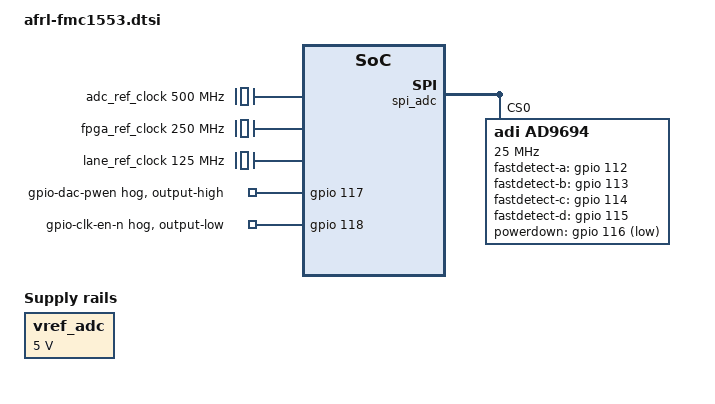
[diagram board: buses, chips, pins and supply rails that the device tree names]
#include <dt-bindings/gpio/gpio.h>

/ {
	clocks {
		adc_ref_clock: clock@0 {
			#clock-cells = <0>;
			compatible = "fixed-clock";
			clock-frequency = <500000000>;
			clock-output-names = "adc_ref_clock";
		};
    
    fpga_ref_clock: clock@1 {
      #clock-cells = <0>;
			compatible = "fixed-clock";
			clock-frequency = <250000000>;
			clock-output-names = "fpga_ref_clock";
		};
    
    lane_ref_clock: clock@2 {
      #clock-cells = <0>;
			compatible = "fixed-clock";
			clock-frequency = <125000000>;
			clock-output-names = "lane_ref_clock";
		};
    
    dac_sample_clock: clock@3 {
      #clock-cells = <0>;
      compatible = "fixed-clock";
      clock-frequency = <500000000>;
      clock-output-names = "dac_sample_clock";
    };
	};

	vref_adc: regulator-vref-adc {
		compatible = "regulator-fixed";
		regulator-name = "vref-adc";
		regulator-min-microvolt = <5000000>;
		regulator-max-microvolt = <5000000>;
		regulator-always-on;
	};
};


&spi_adc {
	ad9694: ad9694@1 {
		#address-cells = <1>;
		#size-cells = <0>;
		#clock-cells = <1>;
		compatible = "adi,ad9694";

		/* SPI Setup */
		reg = <0>;
		spi-max-frequency = <25000000>;

		/* Clocks */
		clocks = <&axi_ad9694_rx_jesd>, <&adc_ref_clock>;
		clock-names = "jesd_adc_clk", "adc_clk";
		
    fastdetect-a-gpios = <&gpio 112 0>; /* 34 */
    fastdetect-b-gpios = <&gpio 113 0>; /* 35 */
    fastdetect-c-gpios = <&gpio 114 0>; /* 36 */
    fastdetect-d-gpios = <&gpio 115 0>; /* 37 */
    powerdown-gpios = <&gpio 116 GPIO_ACTIVE_LOW>;  /* 38 + 78 */
	};
};

/* use to hold gpio's at a predefined state in linux, or use UBOOT */
&gpio {
	//gpio_adc_pwen {
  //  gpio-hog;
	//	gpios = <116 0>;
	//	output-high;
	//	line-name = "gpio-adc-pwen";
	//};
  
	gpio_dac_pwen {
		gpio-hog;
		gpios = <117 0>;
		output-high;
		line-name = "gpio-dac-pwen";
	};
  
	gpio_clk_en_n {
		gpio-hog;
		gpios = <118 0>;
		output-low;
		line-name = "gpio-clk-en-n";
	};
};
